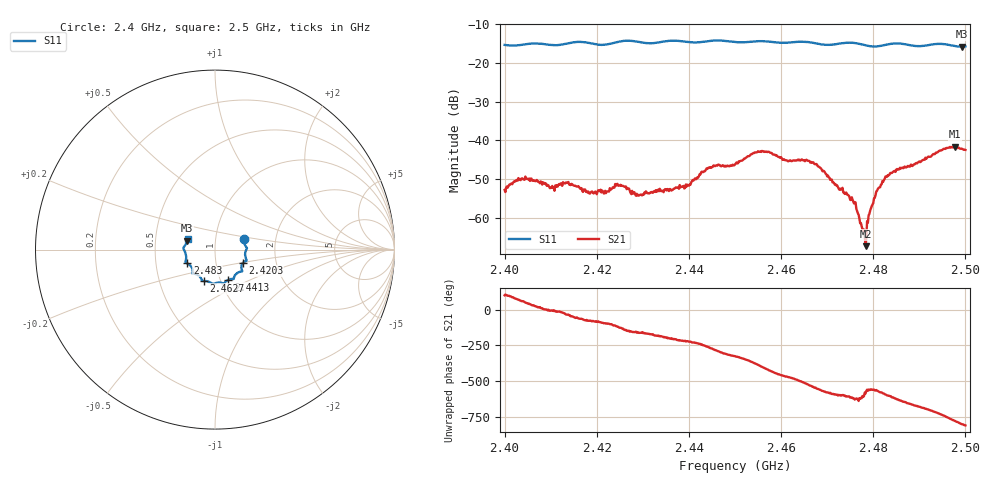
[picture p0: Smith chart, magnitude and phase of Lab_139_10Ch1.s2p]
# Hz S RI R 50
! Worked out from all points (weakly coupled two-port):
!   601 points, 2.4 GHz to 2.5 GHz, reference 50 ohm
!   highest |S21| = -41.64 dB at 2.4977 GHz (marker M1); lowest = -67.4 dB at 2.4783 GHz (marker M2)
!   lowest |S11| = -15.8 dB at 2.4993 GHz (marker M3), VSWR 1.39, Z = 36.5 + j3.7 ohm
!   |S11| at or under -10 dB: start of sweep to end of sweep
!   S12 and S22 are empty: the file has one direction only
!   S11 on the Smith chart (normalised r, x): 2.4 GHz: 1.37, +0.16; 2.4203 GHz: 1.35, -0.21; 2.4413 GHz: 1.09, -0.38; 2.4627 GHz: 0.83, -0.30; 2.483 GHz: 0.72, -0.11; 2.5 GHz: 0.73, +0.09
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2.4e9  0.1611 0.057  -0.000414 0.00224  0 0  0 0
2.404167e9  0.172 0.0168  0.00175 0.00262  0 0  0 0
2.416667e9  0.1762 -0.0616  0.00106 -0.00216  0 0  0 0
2.420333e9  0.1553 -0.0741  0.000322 -0.00224  0 0  0 0
2.4245e9  0.1492 -0.1121  -0.00137 -0.00237  0 0  0 0
2.428833e9  0.1425 -0.1227  -0.00178 -0.000749  0 0  0 0
2.433333e9  0.1081 -0.1484  -0.0023 5.72e-05  0 0  0 0
2.441333e9  0.0745 -0.1681  -0.00193 0.00258  0 0  0 0
2.444167e9  0.055 -0.1829  -0.000608 0.00434  0 0  0 0
2.45e9  0.0292 -0.1837  0.00403 0.00272  0 0  0 0
2.4555e9  -0.00982 -0.191  0.00582 -0.00416  0 0  0 0
2.462667e9  -0.0619 -0.1748  -0.00294 -0.00465  0 0  0 0
2.466667e9  -0.0744 -0.1673  -0.0051 -0.000351  0 0  0 0
2.475667e9  -0.1252 -0.1317  -0.000299 0.00159  0 0  0 0
2.478e9  -0.1245 -0.1164  -0.000298 0.000635  0 0  0 0
2.478333e9  -0.1249 -0.1131  -0.000289 0.000315  0 0  0 0
2.480667e9  -0.1358 -0.0904  -0.002 0.000857  0 0  0 0
2.483e9  -0.1548 -0.0767  -0.00164 0.00294  0 0  0 0
2.483333e9  -0.1571 -0.0757  -0.00156 0.00315  0 0  0 0
2.497667e9  -0.1628 0.0296  0.00425 -0.0071  0 0  0 0
2.499333e9  -0.1542 0.0494  0.000896 -0.00767  0 0  0 0
2.5e9  -0.1526 0.0584  -0.000201 -0.00749  0 0  0 0
